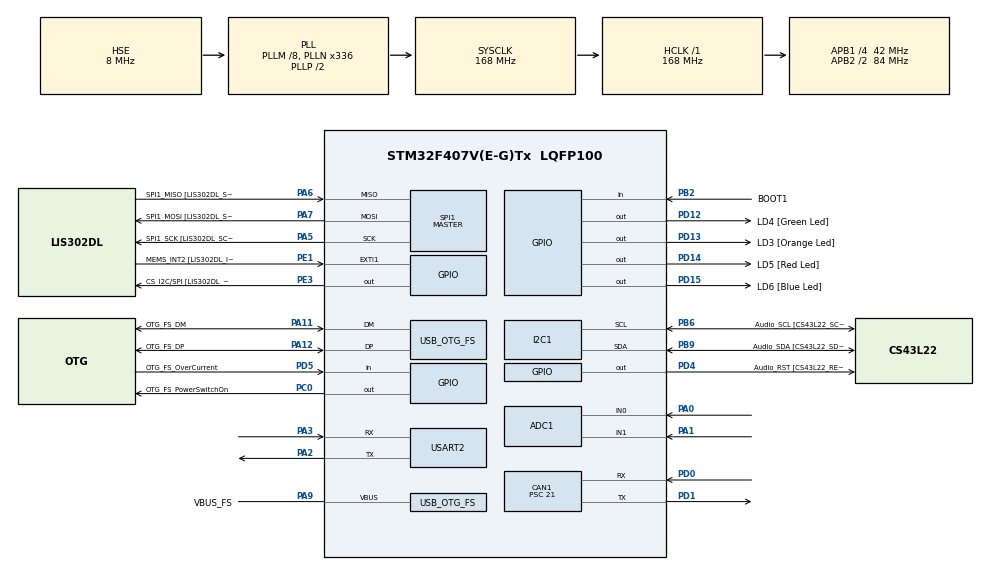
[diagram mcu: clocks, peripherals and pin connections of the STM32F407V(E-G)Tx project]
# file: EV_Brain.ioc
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ADC1.Channel-0\#ChannelRegularConversion=ADC_CHANNEL_0
ADC1.Channel-1\#ChannelRegularConversion=ADC_CHANNEL_1
ADC1.ContinuousConvMode=ENABLE
ADC1.InjNumberOfConversion=0
ADC1.NbrOfConversion=2
ADC1.NbrOfConversionFlag=1
ADC1.Rank-0\#ChannelRegularConversion=1
ADC1.Rank-1\#ChannelRegularConversion=2
ADC1.SamplingTime-0\#ChannelRegularConversion=ADC_SAMPLETIME_15CYCLES
ADC1.SamplingTime-1\#ChannelRegularConversion=ADC_SAMPLETIME_15CYCLES
ADC1.master=1
CAN1.BS1=CAN_BS1_12TQ
CAN1.BS2=CAN_BS2_4TQ
CAN1.CalculateBaudRate=117647
CAN1.CalculateTimeBit=8500
CAN1.CalculateTimeQuantum=500.0
CAN1.Prescaler=21
Mcu.Family=STM32F4
Mcu.Name=STM32F407V(E-G)Tx
Mcu.Package=LQFP100
NVIC.CAN1_RX0_IRQn=true\:0\:0\:false\:false\:true\:true\:true
NVIC.OTG_FS_IRQn=true\:0\:0\:false\:false\:true\:true\:true
NVIC.PriorityGroup=NVIC_PRIORITYGROUP_0
PA0-WKUP.Signal=ADCx_IN0
PA1.Signal=ADCx_IN1
PA10.GPIO_Label=OTG_FS_ID
PA10.GPIO_Mode=GPIO_MODE_AF_PP
PA10.GPIO_PuPd=GPIO_NOPULL
PA10.GPIO_Speed=GPIO_SPEED_FREQ_LOW
PA10.Signal=USB_OTG_FS_ID
PA11.GPIO_Label=OTG_FS_DM
PA11.GPIO_Mode=GPIO_MODE_AF_PP
PA11.GPIO_PuPd=GPIO_NOPULL
PA11.GPIO_Speed=GPIO_SPEED_FREQ_LOW
PA11.Mode=Host_Only
PA11.Signal=USB_OTG_FS_DM
PA12.GPIO_Label=OTG_FS_DP
PA12.GPIO_Mode=GPIO_MODE_AF_PP
PA12.GPIO_PuPd=GPIO_NOPULL
PA12.GPIO_Speed=GPIO_SPEED_FREQ_LOW
PA12.Mode=Host_Only
PA12.Signal=USB_OTG_FS_DP
PA13.GPIO_Label=SWDIO
PA13.Mode=Serial_Wire
PA13.Signal=SYS_JTMS-SWDIO
PA14.GPIO_Label=SWCLK
PA14.Mode=Serial_Wire
PA14.Signal=SYS_JTCK-SWCLK
PA2.Mode=Asynchronous
PA2.Signal=USART2_TX
PA3.Mode=Asynchronous
PA3.Signal=USART2_RX
PA4.GPIO_Label=I2S3_WS [CS43L22_LRCK]
PA4.GPIO_Mode=GPIO_MODE_AF_PP
PA4.GPIO_PuPd=GPIO_NOPULL
PA4.GPIO_Speed=GPIO_SPEED_FREQ_LOW
PA4.Signal=I2S3_WS
PA5.GPIO_Label=SPI1_SCK [LIS302DL_SCL/SPC]
PA5.GPIO_Mode=GPIO_MODE_AF_PP
PA5.GPIO_PuPd=GPIO_NOPULL
PA5.GPIO_Speed=GPIO_SPEED_FREQ_LOW
PA5.Mode=Full_Duplex_Master
PA5.Signal=SPI1_SCK
PA6.GPIO_Label=SPI1_MISO [LIS302DL_SDO]
PA6.GPIO_Mode=GPIO_MODE_AF_PP
PA6.GPIO_PuPd=GPIO_NOPULL
PA6.GPIO_Speed=GPIO_SPEED_FREQ_LOW
PA6.Mode=Full_Duplex_Master
PA6.Signal=SPI1_MISO
PA7.GPIO_Label=SPI1_MOSI [LIS302DL_SDA/SDI/SDO]
PA7.GPIO_Mode=GPIO_MODE_AF_PP
PA7.GPIO_PuPd=GPIO_NOPULL
PA7.GPIO_Speed=GPIO_SPEED_FREQ_LOW
PA7.Mode=Full_Duplex_Master
PA7.Signal=SPI1_MOSI
PA9.GPIO_Label=VBUS_FS
PA9.GPIO_Mode=GPIO_MODE_INPUT
PA9.GPIO_PuPd=GPIO_NOPULL
PA9.Mode=Activate_VBUS
PA9.Signal=USB_OTG_FS_VBUS
PB10.GPIO_Label=CLK_IN [MP45DT02_CLK]
PB10.GPIO_Mode=GPIO_MODE_AF_PP
PB10.GPIO_PuPd=GPIO_NOPULL
PB10.GPIO_Speed=GPIO_SPEED_FREQ_LOW
PB10.Signal=I2S2_CK
PB2.GPIO_Label=BOOT1
PB2.GPIO_Mode=GPIO_MODE_INPUT
PB2.GPIO_PuPd=GPIO_NOPULL
PB2.Signal=GPIO_Input
PB3.GPIO_Label=SWO
PB3.Signal=SYS_JTDO-SWO
PB6.GPIO_Label=Audio_SCL [CS43L22_SCL]
PB6.GPIO_Mode=GPIO_MODE_AF_OD
PB6.GPIO_PuPd=GPIO_NOPULL
PB6.GPIO_Speed=GPIO_SPEED_FREQ_LOW
PB6.Mode=I2C
PB6.Signal=I2C1_SCL
PB9.GPIO_Label=Audio_SDA [CS43L22_SDA]
PB9.GPIO_Mode=GPIO_MODE_AF_OD
PB9.GPIO_PuPd=GPIO_NOPULL
PB9.GPIO_Speed=GPIO_SPEED_FREQ_LOW
PB9.Mode=I2C
PB9.Signal=I2C1_SDA
PC0.GPIO_Label=OTG_FS_PowerSwitchOn
PC0.GPIO_PuPd=GPIO_NOPULL
PC0.GPIO_Speed=GPIO_SPEED_FREQ_LOW
PC0.PinState=GPIO_PIN_SET
PC0.Signal=GPIO_Output
PC10.GPIO_Label=I2S3_SCK [CS43L22_SCLK]
PC10.GPIO_Mode=GPIO_MODE_AF_PP
PC10.GPIO_PuPd=GPIO_NOPULL
PC10.GPIO_Speed=GPIO_SPEED_FREQ_LOW
PC10.Signal=I2S3_CK
PC12.GPIO_Label=I2S3_SD [CS43L22_SDIN]
PC12.GPIO_Mode=GPIO_MODE_AF_PP
PC12.GPIO_PuPd=GPIO_NOPULL
PC12.GPIO_Speed=GPIO_SPEED_FREQ_LOW
PC12.Signal=I2S3_SD
PC14-OSC32_IN.GPIO_Label=PC14-OSC32_IN
PC14-OSC32_IN.Mode=LSE-External-Oscillator
PC14-OSC32_IN.Signal=RCC_OSC32_IN
PC15-OSC32_OUT.GPIO_Label=PC15-OSC32_OUT
PC15-OSC32_OUT.Mode=LSE-External-Oscillator
PC15-OSC32_OUT.Signal=RCC_OSC32_OUT
PC3.GPIO_Label=PDM_OUT [MP45DT02_DOUT]
PC3.GPIO_Mode=GPIO_MODE_AF_PP
PC3.GPIO_PuPd=GPIO_NOPULL
PC3.GPIO_Speed=GPIO_SPEED_FREQ_LOW
PC3.Signal=I2S2_SD
PC7.GPIO_Label=I2S3_MCK [CS43L22_MCLK]
PC7.GPIO_Mode=GPIO_MODE_AF_PP
PC7.GPIO_PuPd=GPIO_NOPULL
PC7.GPIO_Speed=GPIO_SPEED_FREQ_LOW
PC7.Signal=I2S3_MCK
PD0.Mode=CAN_Activate
PD0.Signal=CAN1_RX
PD1.Mode=CAN_Activate
PD1.Signal=CAN1_TX
PD12.GPIO_Label=LD4 [Green Led]
PD12.GPIO_PuPd=GPIO_NOPULL
PD12.GPIO_Speed=GPIO_SPEED_FREQ_LOW
PD12.Signal=GPIO_Output
PD13.GPIO_Label=LD3 [Orange Led]
PD13.GPIO_PuPd=GPIO_NOPULL
PD13.GPIO_Speed=GPIO_SPEED_FREQ_LOW
PD13.Signal=GPIO_Output
PD14.GPIO_Label=LD5 [Red Led]
PD14.GPIO_PuPd=GPIO_NOPULL
PD14.GPIO_Speed=GPIO_SPEED_FREQ_LOW
PD14.Signal=GPIO_Output
PD15.GPIO_Label=LD6 [Blue Led]
PD15.GPIO_PuPd=GPIO_NOPULL
PD15.GPIO_Speed=GPIO_SPEED_FREQ_LOW
PD15.Signal=GPIO_Output
PD4.GPIO_Label=Audio_RST [CS43L22_RESET]
PD4.GPIO_PuPd=GPIO_NOPULL
PD4.GPIO_Speed=GPIO_SPEED_FREQ_LOW
PD4.Signal=GPIO_Output
PD5.GPIO_Label=OTG_FS_OverCurrent
PD5.GPIO_Mode=GPIO_MODE_INPUT
PD5.GPIO_PuPd=GPIO_NOPULL
PD5.Signal=GPIO_Input
PE1.GPIO_Label=MEMS_INT2 [LIS302DL_INT2]
PE1.GPIO_ModeDefaultEXTI=GPIO_MODE_EVT_RISING
PE1.GPIO_PuPd=GPIO_NOPULL
PE1.Signal=GPXTI1
PE3.GPIO_Label=CS_I2C/SPI [LIS302DL_CS_I2C/SPI]
PE3.GPIO_PuPd=GPIO_NOPULL
PE3.GPIO_Speed=GPIO_SPEED_FREQ_LOW
PE3.Signal=GPIO_Output
PH0-OSC_IN.GPIO_Label=PH0-OSC_IN
PH0-OSC_IN.Mode=HSE-External-Oscillator
PH0-OSC_IN.Signal=RCC_OSC_IN
PH1-OSC_OUT.GPIO_Label=PH1-OSC_OUT
PH1-OSC_OUT.Mode=HSE-External-Oscillator
PH1-OSC_OUT.Signal=RCC_OSC_OUT
ProjectManager.HeapSize=0x200
ProjectManager.StackSize=0x400
ProjectManager.TargetToolchain=STM32CubeIDE
RCC.48MHZClocksFreq_Value=48000000
RCC.AHBFreq_Value=168000000
RCC.APB1CLKDivider=RCC_HCLK_DIV4
RCC.APB1Freq_Value=42000000
RCC.APB1TimFreq_Value=84000000
RCC.APB2CLKDivider=RCC_HCLK_DIV2
RCC.APB2Freq_Value=84000000
RCC.APB2TimFreq_Value=168000000
RCC.CortexFreq_Value=168000000
RCC.HCLKFreq_Value=168000000
RCC.HSE_VALUE=8000000
RCC.HSI_VALUE=16000000
RCC.PLLM=8
RCC.PLLN=336
RCC.PLLQ=7
RCC.SYSCLKFreq_VALUE=168000000
RCC.SYSCLKSource=RCC_SYSCLKSOURCE_PLLCLK
RCC.VCOOutputFreq_Value=336000000
SH.ADCx_IN0.0=ADC1_IN0,IN0
SH.ADCx_IN1.0=ADC1_IN1,IN1
SPI1.BaudRatePrescaler-Full_Duplex_Master=SPI_BAUDRATEPRESCALER_2
SPI1.CalculateBaudRate-Full_Duplex_Master=42.0 MBits/s
SPI1.Direction=SPI_DIRECTION_2LINES
SPI1.Mode=SPI_MODE_MASTER
SPI1.Mode-Full_Duplex_Master=SPI_MODE_MASTER
SPI1.VirtualType=VM_MASTER
USART2.VirtualMode=VM_ASYNC
USB_HOST.BSP.number=1
USB_HOST.USBH_HandleTypeDef-CDC_FS=hUsbHostFS
USB_HOST.VirtualModeFS=Cdc
USB_HOST0.BSP.STBoard=false
USB_HOST0.BSP.api=Unknown
USB_HOST0.BSP.i2caddr=0
USB_HOST0.BSP.i2creg=0
USB_HOST0.BSP.instance=PC0
USB_HOST0.BSP.ip=GPIO
USB_HOST0.BSP.mode=Output
USB_HOST0.BSP.name=Drive_VBUS_FS
USB_HOST0.BSP.solution=PC0
USB_OTG_FS.VirtualMode=Host_Only
USB_OTG_FS.phy_itface=HCD_PHY_EMBEDDED
VP_USB_HOST_VS_USB_HOST_CDC_FS.Mode=CDC_FS
board=STM32F407G-DISC1

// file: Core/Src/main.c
/* USER CODE BEGIN Header */
/**
 ******************************************************************************
 * @file           : main.c
 * @brief          : Main program body
 ******************************************************************************
 * @attention
 *
 * <h2><center>&copy; Copyright (c) 2020 STMicroelectronics.
 * All rights reserved.</center></h2>
 *
 * This software component is licensed by ST under Ultimate Liberty license
 * SLA0044, the "License"; You may not use this file except in compliance with
 * the License. You may obtain a copy of the License at:
 *                             www.st.com/SLA0044
 *
 ******************************************************************************
 */
/* USER CODE END Header */
#include "main.h"
#include "usb_host.h"

/* USER CODE BEGIN Includes */
#include <string.h>
#include <math.h>
#include <stdio.h>
#include "demanded_torque_calculator_grt_rtw/demanded_torque_calculator.h"

/* USER CODE END Includes */

ADC_HandleTypeDef hadc1;

CAN_HandleTypeDef hcan1;

I2C_HandleTypeDef hi2c1;

SPI_HandleTypeDef hspi1;

UART_HandleTypeDef huart2;

/* USER CODE BEGIN PV */
CAN_TxHeaderTypeDef pTxHeader; //CAN Tx Header
CAN_RxHeaderTypeDef pRxHeader; //CAN Rx Header
uint32_t pTxMailbox;
CAN_FilterTypeDef sFilterConfig; //CAN filter configuration
/* USER CODE END PV */

void SystemClock_Config(void);
static void MX_GPIO_Init(void);
static void MX_I2C1_Init(void);
static void MX_SPI1_Init(void);
static void MX_ADC1_Init(void);
static void MX_USART2_UART_Init(void);
static void MX_CAN1_Init(void);
void MX_USB_HOST_Process(void);

/* USER CODE BEGIN PFP */
static void CAN_TxHeader_Init(CAN_TxHeaderTypeDef *pTxHeader, uint32_t dlc,
		uint32_t ide, uint32_t rtr, uint32_t stdId);
static void CAN_Filter_Init(CAN_HandleTypeDef *hcan,
		CAN_FilterTypeDef *sFilterConfig, uint32_t fifo, uint32_t highId,
		uint32_t lowId, uint32_t highMask, uint32_t lowMask, uint32_t scale);
HAL_StatusTypeDef CANsend(CAN_HandleTypeDef *hcan,
		CAN_TxHeaderTypeDef *pTxHeader, uint16_t data[], uint32_t *pTxMailbox);
/* USER CODE END PFP */

int main(void)
{
  /* USER CODE BEGIN 1 */
	float ap_raw; // raw accelerator pedal sensor value
	float bp_raw; // raw brake pedal sensor value
	float ap_percent; // accelerator pedal value as a percent
	float bp_percent; // brake pedal value as a percent

	float regen_percent;
	float dmd_trq; // demanded torque
	float mtr_spd; // motor speed
	float max_cnt_pwr; // max continuous power
	float output_percent; // percentage of current max torque to output

	uint8_t can_data[2]; // can message data
	uint16_t trq_setpoint; // torque setpoint
	uint8_t IMPLAUSIBLE_STATE;
	uint8_t PEAK_TORQUE_MODE;

	const uint8_t MAX_CONT_TORQUE = 125;
	const uint8_t MAX_PEAK_TORQUE = 240;

	float max_trq;
	char msg[100];

	uint16_t transmit_result;

  /* USER CODE END 1 */

  /* MCU Configuration--------------------------------------------------------*/

  /* Reset of all peripherals, Initializes the Flash interface and the Systick. */
  HAL_Init();

  /* Configure the system clock */
  SystemClock_Config();

  /* Initialize all configured peripherals */
  MX_GPIO_Init();
  MX_I2C1_Init();
  MX_SPI1_Init();
  MX_USB_HOST_Init();
  MX_ADC1_Init();
  MX_USART2_UART_Init();
  MX_CAN1_Init();
  /* USER CODE BEGIN 2 */
	//Initialize CAN header - standard id type, set standard Id = filter ID of other device
	CAN_TxHeader_Init(&pTxHeader, 1, CAN_ID_STD, CAN_RTR_DATA, 0x245);

	//Initialize CAN filter - filter ID = TxHeader Id of other device, 32 bit scale. Enables and configs filter.
	CAN_Filter_Init(&hcan1, &sFilterConfig, CAN_FILTER_FIFO0, 0x244, 0, 0, 0,
	CAN_FILTERSCALE_32BIT);

	//start CAN
	HAL_CAN_Start(&hcan1);

	//interrupt on message pending
	HAL_CAN_ActivateNotification(&hcan1, CAN_IT_RX_FIFO0_MSG_PENDING);
	//Initialize CAN filter - filter ID = TxHeader Id of other device, 32 bit scale. Enables and configs filter.
	CAN_Filter_Init(&hcan1, &sFilterConfig, CAN_FILTER_FIFO0, 0x244, 0, 0, 0,
	CAN_FILTERSCALE_32BIT);

	//start CAN
	HAL_CAN_Start(&hcan1);

	//interrupt on message pending
	HAL_CAN_ActivateNotification(&hcan1, CAN_IT_RX_FIFO0_MSG_PENDING);
  /* USER CODE END 2 */

  /* Infinite loop */
  /* USER CODE BEGIN WHILE */

	// TEMP VALUES
	max_cnt_pwr = 100;
	mtr_spd = 0;

	// Returns the maximum continuous torque available at the current rpm
	float cont_torque_map(uint16_t rpm)
	{
		// ax*2 + bx + c
		float val = (-0.000003 * rpm * rpm) + (0.0192 * rpm) + (97.429);
		if (val < 0)
			return 0;
		if (val > MAX_CONT_TORQUE)
			return MAX_CONT_TORQUE;
		return val;
	}

	// Returns the maximum peak torque available at the current rpm
	float peak_torque_map(uint16_t rpm)
	{
		// ax*2 + bx + c
		float val = (-0.000001 * rpm * rpm) + (0.0029 * rpm) + (239.57);
		if (val < 0)
			return 0;
		if (val > MAX_PEAK_TORQUE)
			return MAX_PEAK_TORQUE;
		return val;
	}

	// Calculate a setpoint value given a torque value
	uint16_t calculate_setpoint(float dmd_trq)
	{
		float output_percent = dmd_trq / 240;
		return output_percent * (float) 32767;
	}

	// Returns true if the car is not in or recovering from an implausible state
	int plausibility_check(float ap_percent, float bp_percent, uint8_t *IMPLAUSIBLE_STATE)
	{
		// If in an implausible state, check if the accelerator pedal
		// has dropped below 5 percent, in this case, update state and return true
		// otherwise return false
		if (*IMPLAUSIBLE_STATE == true)
		{
			if (ap_percent < 0.05)
			{
				*IMPLAUSIBLE_STATE = false;
				return true;
			}
			else
			{
				return false;
			}
		}
		else
		{
			// Check ap and bp to see if they are currently in an implausible state.
			// Change the status and return false if they are
			// TODO: Figure out the bp_percent value for mechanical brake actuation
			if (ap_percent >= 0.25 && bp_percent >= 0.05)
			{
				*IMPLAUSIBLE_STATE = true;
				return false;
			}
			else
			{
				return true;
			}
		}
	}

	// Initialize torque calculator object
	demanded_torque_calculator_initialize();

	ap_percent = 0;
	bp_percent = 0;
	ap_raw = 0;
	bp_raw = 0;
	regen_percent = 0;
	IMPLAUSIBLE_STATE = false;
	PEAK_TORQUE_MODE = false;

	while (1)
	{
		// Get ADC values
		HAL_ADC_Start(&hadc1);
		HAL_ADC_PollForConversion(&hadc1, 1000);
		ap_raw = HAL_ADC_GetValue(&hadc1);
		HAL_ADC_Start(&hadc1);
		bp_raw = HAL_ADC_GetValue(&hadc1);

		// Convert [sensor value] -> [% throttle activated]
		ap_percent = ap_raw / 4095.0;
		bp_percent = bp_raw / 4095.0;

		//Check pedal plausibility
		// If in a plausible state, convert pedal sensor actuation to desired torque
		if (plausibility_check(ap_percent, bp_percent, &IMPLAUSIBLE_STATE))
		{

			// Get current max torque
			// TODO: Read motor rpm
			/*
			 if (PEAK_TORQUE_MODE)
			 {
			 max_trq = peak_torque_map(current_rpm);
			 }
			 else
			 {
			 max_trq = cont_torque_map(current_rpm);
			 }
			 */

			max_trq = 100;

			// Set inputs for torque_calculator
			demanded_torque_calculator_U.regen_percentage = regen_percent; // regen not yet implemented
			demanded_torque_calculator_U.throttle = ap_percent * 100;
			demanded_torque_calculator_U.max_torque = max_trq;

			//Step (calculate model outputs from inputs)
			demanded_torque_calculator_step();

			// Get outputs from torque_calculator object
			dmd_trq = demanded_torque_calculator_Y.demanded_torque;
		}
		else
		{
			// If not in plausible state, set demanded torque to 0
			// TODO: May need to trigger shutdown circuit here, not sure.
			dmd_trq = 0;
		}

		// Calculate the torque setpoint
		trq_setpoint = calculate_setpoint(dmd_trq);

		// Create CAN message
		// TODO: Add code for creating/sending can message
		// Split the setpoint value into 2 byte blocks
		can_data[0] = trq_setpoint & 0xFF;  // Bits 7 - 0
		can_data[1] = (trq_setpoint > 8) & 0xFF; // Bits 15 - 8

		CANsend(&hcan1, &pTxHeader, &can_data, &pTxMailbox);

		// Convert to string and print to serial
		sprintf(msg, "AP - %f, BP - %f, SP - %d\r\n", ap_percent, bp_percent,
				trq_setpoint);
		transmit_result = HAL_UART_Transmit(&huart2, (uint8_t*) msg,
				strlen(msg), 1000);

		// Pretend we have something else to do for a while
		HAL_Delay(1);

    /* USER CODE END WHILE */
    MX_USB_HOST_Process();

    /* USER CODE BEGIN 3 */
	}

	// Terminate torque calculator object
	demanded_torque_calculator_terminate();

  /* USER CODE END 3 */
}

void SystemClock_Config(void)
{
  RCC_OscInitTypeDef RCC_OscInitStruct = {0};
  RCC_ClkInitTypeDef RCC_ClkInitStruct = {0};

  /** Configure the main internal regulator output voltage
  */
  __HAL_RCC_PWR_CLK_ENABLE();
  __HAL_PWR_VOLTAGESCALING_CONFIG(PWR_REGULATOR_VOLTAGE_SCALE1);
  /** Initializes the RCC Oscillators according to the specified parameters
  * in the RCC_OscInitTypeDef structure.
  */
  RCC_OscInitStruct.OscillatorType = RCC_OSCILLATORTYPE_HSE;
  RCC_OscInitStruct.HSEState = RCC_HSE_ON;
  RCC_OscInitStruct.PLL.PLLState = RCC_PLL_ON;
  RCC_OscInitStruct.PLL.PLLSource = RCC_PLLSOURCE_HSE;
  RCC_OscInitStruct.PLL.PLLM = 8;
  RCC_OscInitStruct.PLL.PLLN = 336;
  RCC_OscInitStruct.PLL.PLLP = RCC_PLLP_DIV2;
  RCC_OscInitStruct.PLL.PLLQ = 7;
  if (HAL_RCC_OscConfig(&RCC_OscInitStruct) != HAL_OK)
  {
    Error_Handler();
  }
  /** Initializes the CPU, AHB and APB buses clocks
  */
  RCC_ClkInitStruct.ClockType = RCC_CLOCKTYPE_HCLK|RCC_CLOCKTYPE_SYSCLK
                              |RCC_CLOCKTYPE_PCLK1|RCC_CLOCKTYPE_PCLK2;
  RCC_ClkInitStruct.SYSCLKSource = RCC_SYSCLKSOURCE_PLLCLK;
  RCC_ClkInitStruct.AHBCLKDivider = RCC_SYSCLK_DIV1;
  RCC_ClkInitStruct.APB1CLKDivider = RCC_HCLK_DIV4;
  RCC_ClkInitStruct.APB2CLKDivider = RCC_HCLK_DIV2;

  if (HAL_RCC_ClockConfig(&RCC_ClkInitStruct, FLASH_LATENCY_5) != HAL_OK)
  {
    Error_Handler();
  }
}

static void MX_ADC1_Init(void)
{

  ADC_ChannelConfTypeDef sConfig = {0};

  /** Configure the global features of the ADC (Clock, Resolution, Data Alignment and number of conversion)
  */
  hadc1.Instance = ADC1;
  hadc1.Init.ClockPrescaler = ADC_CLOCK_SYNC_PCLK_DIV4;
  hadc1.Init.Resolution = ADC_RESOLUTION_12B;
  hadc1.Init.ScanConvMode = ENABLE;
  hadc1.Init.ContinuousConvMode = ENABLE;
  hadc1.Init.DiscontinuousConvMode = DISABLE;
  hadc1.Init.ExternalTrigConvEdge = ADC_EXTERNALTRIGCONVEDGE_NONE;
  hadc1.Init.ExternalTrigConv = ADC_SOFTWARE_START;
  hadc1.Init.DataAlign = ADC_DATAALIGN_RIGHT;
  hadc1.Init.NbrOfConversion = 2;
  hadc1.Init.DMAContinuousRequests = DISABLE;
  hadc1.Init.EOCSelection = ADC_EOC_SINGLE_CONV;
  if (HAL_ADC_Init(&hadc1) != HAL_OK)
  {
    Error_Handler();
  }
  /** Configure for the selected ADC regular channel its corresponding rank in the sequencer and its sample time.
  */
  sConfig.Channel = ADC_CHANNEL_0;
  sConfig.Rank = 1;
  sConfig.SamplingTime = ADC_SAMPLETIME_15CYCLES;
  if (HAL_ADC_ConfigChannel(&hadc1, &sConfig) != HAL_OK)
  {
    Error_Handler();
  }
  /** Configure for the selected ADC regular channel its corresponding rank in the sequencer and its sample time.
  */
  sConfig.Channel = ADC_CHANNEL_1;
  sConfig.Rank = 2;
  if (HAL_ADC_ConfigChannel(&hadc1, &sConfig) != HAL_OK)
  {
    Error_Handler();
  }

}

static void MX_CAN1_Init(void)
{

  hcan1.Instance = CAN1;
  hcan1.Init.Prescaler = 21;
  hcan1.Init.Mode = CAN_MODE_NORMAL;
  hcan1.Init.SyncJumpWidth = CAN_SJW_1TQ;
  hcan1.Init.TimeSeg1 = CAN_BS1_12TQ;
  hcan1.Init.TimeSeg2 = CAN_BS2_4TQ;
  hcan1.Init.TimeTriggeredMode = DISABLE;
  hcan1.Init.AutoBusOff = DISABLE;
  hcan1.Init.AutoWakeUp = DISABLE;
  hcan1.Init.AutoRetransmission = DISABLE;
  hcan1.Init.ReceiveFifoLocked = DISABLE;
  hcan1.Init.TransmitFifoPriority = DISABLE;
  if (HAL_CAN_Init(&hcan1) != HAL_OK)
  {
    Error_Handler();
  }

}

static void MX_I2C1_Init(void)
{

  hi2c1.Instance = I2C1;
  hi2c1.Init.ClockSpeed = 100000;
  hi2c1.Init.DutyCycle = I2C_DUTYCYCLE_2;
  hi2c1.Init.OwnAddress1 = 0;
  hi2c1.Init.AddressingMode = I2C_ADDRESSINGMODE_7BIT;
  hi2c1.Init.DualAddressMode = I2C_DUALADDRESS_DISABLE;
  hi2c1.Init.OwnAddress2 = 0;
  hi2c1.Init.GeneralCallMode = I2C_GENERALCALL_DISABLE;
  hi2c1.Init.NoStretchMode = I2C_NOSTRETCH_DISABLE;
  if (HAL_I2C_Init(&hi2c1) != HAL_OK)
  {
    Error_Handler();
  }

}

static void MX_SPI1_Init(void)
{

  /* SPI1 parameter configuration*/
  hspi1.Instance = SPI1;
  hspi1.Init.Mode = SPI_MODE_MASTER;
  hspi1.Init.Direction = SPI_DIRECTION_2LINES;
  hspi1.Init.DataSize = SPI_DATASIZE_8BIT;
  hspi1.Init.CLKPolarity = SPI_POLARITY_LOW;
  hspi1.Init.CLKPhase = SPI_PHASE_1EDGE;
  hspi1.Init.NSS = SPI_NSS_SOFT;
  hspi1.Init.BaudRatePrescaler = SPI_BAUDRATEPRESCALER_2;
  hspi1.Init.FirstBit = SPI_FIRSTBIT_MSB;
  hspi1.Init.TIMode = SPI_TIMODE_DISABLE;
  hspi1.Init.CRCCalculation = SPI_CRCCALCULATION_DISABLE;
  hspi1.Init.CRCPolynomial = 10;
  if (HAL_SPI_Init(&hspi1) != HAL_OK)
  {
    Error_Handler();
  }

}

static void MX_USART2_UART_Init(void)
{

  huart2.Instance = USART2;
  huart2.Init.BaudRate = 115200;
  huart2.Init.WordLength = UART_WORDLENGTH_8B;
  huart2.Init.StopBits = UART_STOPBITS_1;
  huart2.Init.Parity = UART_PARITY_NONE;
  huart2.Init.Mode = UART_MODE_TX_RX;
  huart2.Init.HwFlowCtl = UART_HWCONTROL_NONE;
  huart2.Init.OverSampling = UART_OVERSAMPLING_16;
  if (HAL_UART_Init(&huart2) != HAL_OK)
  {
    Error_Handler();
  }

}

static void MX_GPIO_Init(void)
{
  GPIO_InitTypeDef GPIO_InitStruct = {0};

  /* GPIO Ports Clock Enable */
  __HAL_RCC_GPIOE_CLK_ENABLE();
  __HAL_RCC_GPIOC_CLK_ENABLE();
  __HAL_RCC_GPIOH_CLK_ENABLE();
  __HAL_RCC_GPIOA_CLK_ENABLE();
  __HAL_RCC_GPIOB_CLK_ENABLE();
  __HAL_RCC_GPIOD_CLK_ENABLE();

  /*Configure GPIO pin Output Level */
  HAL_GPIO_WritePin(CS_I2C_SPI_GPIO_Port, CS_I2C_SPI_Pin, GPIO_PIN_RESET);

  /*Configure GPIO pin Output Level */
  HAL_GPIO_WritePin(OTG_FS_PowerSwitchOn_GPIO_Port, OTG_FS_PowerSwitchOn_Pin, GPIO_PIN_SET);

  /*Configure GPIO pin Output Level */
  HAL_GPIO_WritePin(GPIOD, LD4_Pin|LD3_Pin|LD5_Pin|LD6_Pin
                          |Audio_RST_Pin, GPIO_PIN_RESET);

  /*Configure GPIO pin : CS_I2C_SPI_Pin */
  GPIO_InitStruct.Pin = CS_I2C_SPI_Pin;
  GPIO_InitStruct.Mode = GPIO_MODE_OUTPUT_PP;
  GPIO_InitStruct.Pull = GPIO_NOPULL;
  GPIO_InitStruct.Speed = GPIO_SPEED_FREQ_LOW;
  HAL_GPIO_Init(CS_I2C_SPI_GPIO_Port, &GPIO_InitStruct);

  /*Configure GPIO pin : OTG_FS_PowerSwitchOn_Pin */
  GPIO_InitStruct.Pin = OTG_FS_PowerSwitchOn_Pin;
  GPIO_InitStruct.Mode = GPIO_MODE_OUTPUT_PP;
  GPIO_InitStruct.Pull = GPIO_NOPULL;
  GPIO_InitStruct.Speed = GPIO_SPEED_FREQ_LOW;
  HAL_GPIO_Init(OTG_FS_PowerSwitchOn_GPIO_Port, &GPIO_InitStruct);

  /*Configure GPIO pin : PDM_OUT_Pin */
  GPIO_InitStruct.Pin = PDM_OUT_Pin;
  GPIO_InitStruct.Mode = GPIO_MODE_AF_PP;
  GPIO_InitStruct.Pull = GPIO_NOPULL;
  GPIO_InitStruct.Speed = GPIO_SPEED_FREQ_LOW;
  GPIO_InitStruct.Alternate = GPIO_AF5_SPI2;
  HAL_GPIO_Init(PDM_OUT_GPIO_Port, &GPIO_InitStruct);

  /*Configure GPIO pin : I2S3_WS_Pin */
  GPIO_InitStruct.Pin = I2S3_WS_Pin;
  GPIO_InitStruct.Mode = GPIO_MODE_AF_PP;
  GPIO_InitStruct.Pull = GPIO_NOPULL;
  GPIO_InitStruct.Speed = GPIO_SPEED_FREQ_LOW;
  GPIO_InitStruct.Alternate = GPIO_AF6_SPI3;
  HAL_GPIO_Init(I2S3_WS_GPIO_Port, &GPIO_InitStruct);

  /*Configure GPIO pin : BOOT1_Pin */
  GPIO_InitStruct.Pin = BOOT1_Pin;
  GPIO_InitStruct.Mode = GPIO_MODE_INPUT;
  GPIO_InitStruct.Pull = GPIO_NOPULL;
  HAL_GPIO_Init(BOOT1_GPIO_Port, &GPIO_InitStruct);

  /*Configure GPIO pin : CLK_IN_Pin */
  GPIO_InitStruct.Pin = CLK_IN_Pin;
  GPIO_InitStruct.Mode = GPIO_MODE_AF_PP;
  GPIO_InitStruct.Pull = GPIO_NOPULL;
  GPIO_InitStruct.Speed = GPIO_SPEED_FREQ_LOW;
  GPIO_InitStruct.Alternate = GPIO_AF5_SPI2;
  HAL_GPIO_Init(CLK_IN_GPIO_Port, &GPIO_InitStruct);

  /*Configure GPIO pins : LD4_Pin LD3_Pin LD5_Pin LD6_Pin
                           Audio_RST_Pin */
  GPIO_InitStruct.Pin = LD4_Pin|LD3_Pin|LD5_Pin|LD6_Pin
                          |Audio_RST_Pin;
  GPIO_InitStruct.Mode = GPIO_MODE_OUTPUT_PP;
  GPIO_InitStruct.Pull = GPIO_NOPULL;
  GPIO_InitStruct.Speed = GPIO_SPEED_FREQ_LOW;
  HAL_GPIO_Init(GPIOD, &GPIO_InitStruct);

  /*Configure GPIO pins : I2S3_MCK_Pin I2S3_SCK_Pin I2S3_SD_Pin */
  GPIO_InitStruct.Pin = I2S3_MCK_Pin|I2S3_SCK_Pin|I2S3_SD_Pin;
  GPIO_InitStruct.Mode = GPIO_MODE_AF_PP;
  GPIO_InitStruct.Pull = GPIO_NOPULL;
  GPIO_InitStruct.Speed = GPIO_SPEED_FREQ_LOW;
  GPIO_InitStruct.Alternate = GPIO_AF6_SPI3;
  HAL_GPIO_Init(GPIOC, &GPIO_InitStruct);

  /*Configure GPIO pin : OTG_FS_OverCurrent_Pin */
  GPIO_InitStruct.Pin = OTG_FS_OverCurrent_Pin;
  GPIO_InitStruct.Mode = GPIO_MODE_INPUT;
  GPIO_InitStruct.Pull = GPIO_NOPULL;
  HAL_GPIO_Init(OTG_FS_OverCurrent_GPIO_Port, &GPIO_InitStruct);

  /*Configure GPIO pin : MEMS_INT2_Pin */
  GPIO_InitStruct.Pin = MEMS_INT2_Pin;
  GPIO_InitStruct.Mode = GPIO_MODE_EVT_RISING;
  GPIO_InitStruct.Pull = GPIO_NOPULL;
  HAL_GPIO_Init(MEMS_INT2_GPIO_Port, &GPIO_InitStruct);

}

/* USER CODE BEGIN 4 */
static void CAN_TxHeader_Init(CAN_TxHeaderTypeDef *pTxHeader, uint32_t dlc,
		uint32_t ide, uint32_t rtr, uint32_t stdId)
{
	pTxHeader->DLC = dlc; // 'dlc' bytes of data
	pTxHeader->IDE = ide;
	pTxHeader->RTR = rtr;
	pTxHeader->StdId = stdId; //set standard identifier.
}

/**
 * @brief CAN Filter Initialization Function
 * @param hcan          : pointer to a CAN_HandleTypeDef structure that contains the configuration information for the specified CAN.
 *        sFilterConfig : pointer to a CAN_FilterTypeDef structure.
 * 	   fifo          : Specifies the FIFO (0 or 1) which will be assigned to the filter. This parameter can be a value of CAN_filter_FIFO
 * 	   highID        : Specifies the filter identification number (MSBs for a 32-bit configuration, first one for a 16-bit configuration). This parameter can be a value between 0x0000 and 0xFFFF
 * 	   lowID         : Specifies the filter identification number (LSBs for a 32-bit configuration, second one for a 16-bit configuration). This parameter can be a value between 0x0000 and 0xFFFF
 * 	   highMask      : Specifies the filter mask number or identification number, according to the mode (MSBs for a 32-bit configuration, first one for a 16-bit configuration). This parameter can be a value between 0x0000 and 0xFFFF
 * 	   lowMask       : Specifies the filter mask number or identification number, according to the mode (LSBs for a 32-bit configuration, second one for a 16-bit configuration). This parameter can be a value between 0x0000 and 0xFFFF
 * 	   scale         : Specifies the filter scale. This parameter can be a value of CAN_filter_scale
 * @retval None
 */
static void CAN_Filter_Init(CAN_HandleTypeDef *hcan,
		CAN_FilterTypeDef *sFilterConfig, uint32_t fifo, uint32_t highId,
		uint32_t lowId, uint32_t highMask, uint32_t lowMask, uint32_t scale)
{
	sFilterConfig->FilterFIFOAssignment = fifo;
	sFilterConfig->FilterIdHigh = highId << 5; //must be shifted 5 bits to the left according to reference manual
	sFilterConfig->FilterIdLow = lowId;
	sFilterConfig->FilterMaskIdHigh = highMask;
	sFilterConfig->FilterMaskIdLow = lowMask;
	sFilterConfig->FilterScale = scale;
	sFilterConfig->FilterActivation = CAN_FILTER_ENABLE; //enable activation

	HAL_CAN_ConfigFilter(hcan, sFilterConfig); //config CAN filter
}

/**
 * @brief CAN Transmit (after header, filter config)
 * @param hcan       : pointer to a CAN_HandleTypeDef structure that contains the configuration information for the specified CAN.
 *        pTxHeader  : pointer to a CAN_TxHeaderTypeDef structure.
 *        data       : array containing the payload of the Tx frame.
 *        pTxMailbox : pointer to a variable where the function will return the TxMailbox used to store the Tx message. This parameter can be a value of @arg CAN_Tx_Mailboxes.
 * @retval None
 */
HAL_StatusTypeDef CANsend(CAN_HandleTypeDef *hcan,
		CAN_TxHeaderTypeDef *pTxHeader, uint16_t data[], uint32_t *pTxMailbox)
{
	return (HAL_CAN_AddTxMessage(hcan, pTxHeader, data, pTxMailbox)); //transmit over CAN, return HAL status
}

/* USER CODE END 4 */

void Error_Handler(void)
{
}
